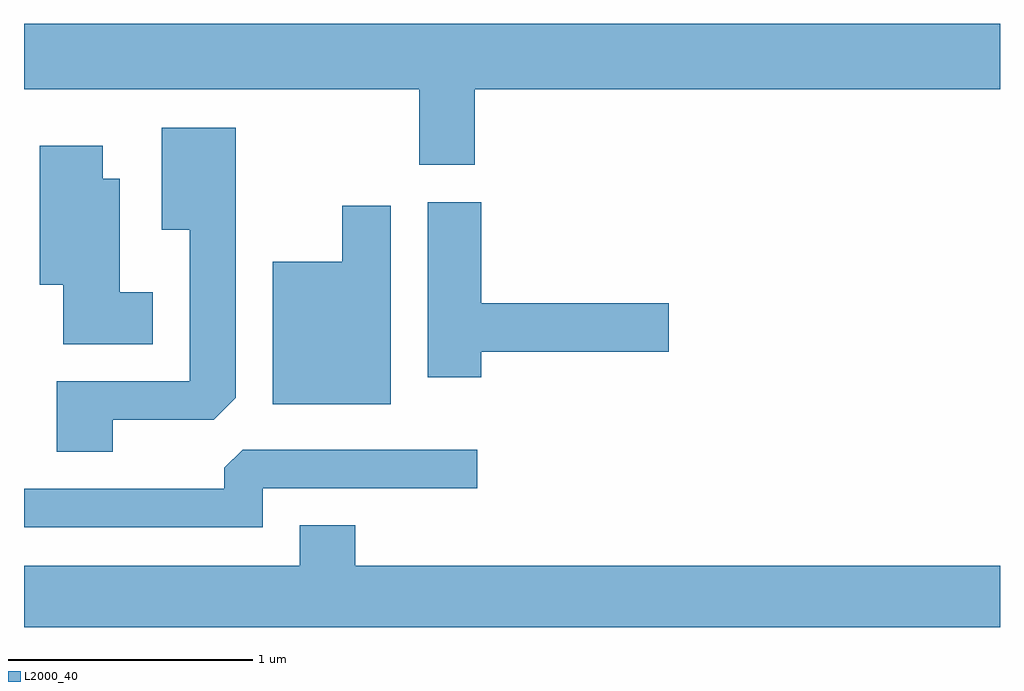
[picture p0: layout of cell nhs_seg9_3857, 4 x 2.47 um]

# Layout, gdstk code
import gdstk
lib = gdstk.Library(unit=1e-6, precision=1e-09)
def P(c, l, *ps):  # polygons
    for p in ps: c.add(gdstk.Polygon(p, *l))
L2000_40 = (2000, 40)

nhs_seg9_3857 = lib.new_cell('nhs_seg9_3857')
P(nhs_seg9_3857, L2000_40, [(299.459,2060.636),(301.611,2060.636),(301.611,2060.904),(297.611,2060.904),(297.611,2060.636),(299.231,2060.636),(299.231,2060.326),(299.459,2060.326)],
  [(297.974,2059.281),(298.389,2059.281),(298.479,2059.372),(298.479,2060.479),(298.176,2060.479),(298.176,2060.061),(298.291,2060.061),(298.291,2059.439),(297.746,2059.439),(297.746,2059.151),(297.974,2059.151)],
  [(298.139,2059.804),(298.004,2059.804),(298.004,2060.269),(297.934,2060.269),(297.934,2060.404),(297.676,2060.404),(297.676,2059.836),(297.771,2059.836),(297.771,2059.591),(298.139,2059.591)],
  [(299.484,2059.561),(300.254,2059.561),(300.254,2059.759),(299.484,2059.759),(299.484,2060.174),(299.266,2060.174),(299.266,2059.456),(299.484,2059.456)],
  [(299.114,2060.159),(298.916,2060.159),(298.916,2059.929),(298.631,2059.929),(298.631,2059.346),(299.114,2059.346)],
  [(298.589,2059.001),(299.468,2059.001),(299.468,2059.159),(298.507,2059.159),(298.431,2059.084),(298.431,2058.999),(297.611,2058.999),(297.611,2058.841),(298.589,2058.841)],
  [(301.611,2058.684),(298.969,2058.684),(298.969,2058.849),(298.741,2058.849),(298.741,2058.684),(297.611,2058.684),(297.611,2058.432),(301.611,2058.432)])

lib.write_gds('nhs_seg9_3857.gds')
